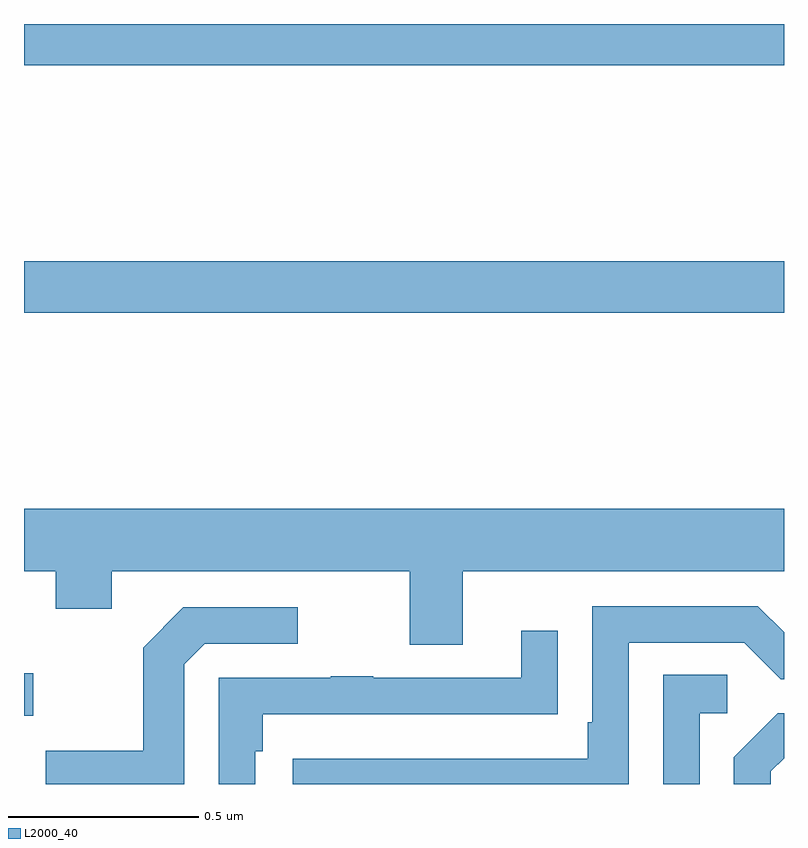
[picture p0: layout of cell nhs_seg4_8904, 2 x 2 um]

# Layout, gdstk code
import gdstk
lib = gdstk.Library(unit=1e-6, precision=1e-09)
def R(c, l, rs):  # rectangles x0, y0, x1, y1
    for r in rs: c.add(gdstk.rectangle(r[:2], r[2:], *l))
def P(c, l, *ps):  # polygons
    for p in ps: c.add(gdstk.Polygon(p, *l))
L2000_40 = (2000, 40)

nhs_seg4_8904 = lib.new_cell('nhs_seg4_8904')
R(nhs_seg4_8904, L2000_40, [(220,823.079,220.024,823.192), (220,824.14,222,824.276), (220,824.792,222,824.9)])
P(nhs_seg4_8904, L2000_40, [(221.155,823.46),(222,823.46),(222,823.624),(220,823.624),(220,823.46),(220.084,823.46),(220.084,823.361),(220.231,823.361),(220.231,823.46),(221.015,823.46),(221.015,823.266),(221.155,823.266)],
  [(221.592,823.272),(221.895,823.272),(221.991,823.176),(222,823.176),(222,823.299),(221.931,823.368),(221.496,823.368),(221.496,823.063),(221.483,823.063),(221.483,822.966),(220.707,822.966),(220.707,822.9),(221.592,822.9)],
  [(220.422,823.215),(220.476,823.269),(220.72,823.269),(220.72,823.365),(220.419,823.365),(220.314,823.259),(220.314,822.987),(220.057,822.987),(220.057,822.9),(220.422,822.9)],
  [(220.608,822.986),(220.628,822.986),(220.628,823.083),(221.303,823.083),(221.303,823.084),(221.405,823.084),(221.405,823.303),(221.309,823.303),(221.309,823.179),(220.919,823.179),(220.919,823.184),(220.807,823.184),(220.807,823.179),(220.512,823.179),(220.512,822.9),(220.608,822.9)],
  [(221.778,823.086),(221.851,823.086),(221.851,823.187),(221.682,823.187),(221.682,822.9),(221.778,822.9)],
  [(221.965,822.933),(222,822.968),(222,823.086),(221.984,823.086),(221.868,822.97),(221.868,822.9),(221.965,822.9)])

lib.write_gds('nhs_seg4_8904.gds')
